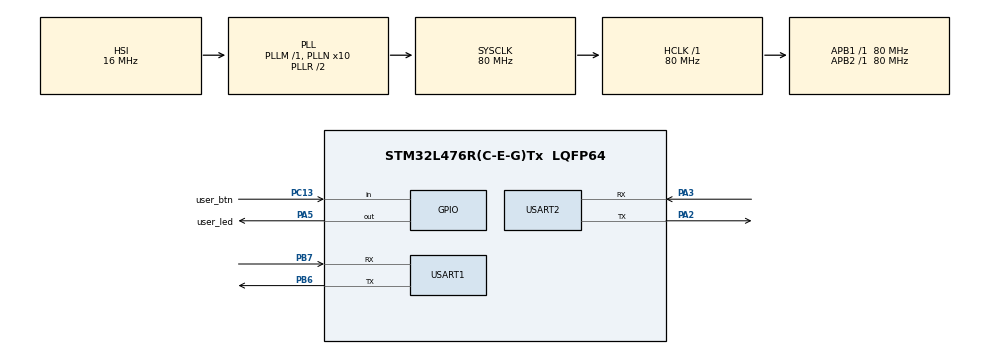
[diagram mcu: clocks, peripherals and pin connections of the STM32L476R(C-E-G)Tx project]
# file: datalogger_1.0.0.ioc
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Mcu.Family=STM32L4
RCC.MSI_VALUE=4000000
RCC.PLLSourceVirtual=RCC_PLLSOURCE_HSI
PA14\ (JTCK-SWCLK).Mode=Serial_Wire
RCC.CortexFreq_Value=80000000
PC13.Signal=GPIO_Input
PC13.GPIO_Label=user_btn
NVIC.USART2_IRQn=true\:0\:0\:false\:false\:true\:true\:true
RCC.SYSCLKSource=RCC_SYSCLKSOURCE_PLLCLK
ProjectManager.StackSize=0x400
PA14\ (JTCK-SWCLK).Signal=SYS_JTCK-SWCLK
USART1.VirtualMode-Asynchronous=VM_ASYNC
PA3.Mode=Asynchronous
ProjectManager.TargetToolchain=STM32CubeIDE
RCC.HCLKFreq_Value=80000000
RCC.APB2TimFreq_Value=80000000
PB6.Signal=USART1_TX
PB6.Mode=Asynchronous
RCC.USBFreq_Value=64000000
RCC.AHBFreq_Value=80000000
RCC.PREFETCH_ENABLE=1
PA5.Signal=GPIO_Output
RCC.HSE_VALUE=8000000
board=NUCLEO-L476RG
USART2.VirtualMode-Asynchronous=VM_ASYNC
RCC.VCOOutputFreq_Value=160000000
RCC.APB2Freq_Value=80000000
RCC.ADCFreq_Value=64000000
PC13.GPIO_PuPd=GPIO_PULLUP
PB7.Signal=USART1_RX
Mcu.Name=STM32L476R(C-E-G)Tx
PA2.Signal=USART2_TX
PA13\ (JTMS-SWDIO).Mode=Serial_Wire
RCC.SYSCLKFreq_VALUE=80000000
Mcu.Package=LQFP64
PA5.GPIO_Label=user_led
PB7.Mode=Asynchronous
ProjectManager.HeapSize=0x200
RCC.HSI_VALUE=16000000
PA5.GPIO_Speed=GPIO_SPEED_FREQ_VERY_HIGH
NVIC.PriorityGroup=NVIC_PRIORITYGROUP_4
RCC.PLLN=10
RCC.APB1TimFreq_Value=80000000
PA2.Mode=Asynchronous
PA13\ (JTMS-SWDIO).Signal=SYS_JTMS-SWDIO
NVIC.USART1_IRQn=true\:0\:0\:false\:false\:true\:true\:true
RCC.APB1Freq_Value=80000000
PA3.Signal=USART2_RX

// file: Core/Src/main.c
/* USER CODE BEGIN Header */
/**
  ******************************************************************************
  * @file           : main.c
  * @brief          : Main program body
  ******************************************************************************
  * @attention
  *
  * <h2><center>&copy; Copyright (c) 2021 STMicroelectronics.
  * All rights reserved.</center></h2>
  *
  * This software component is licensed by ST under BSD 3-Clause license,
  * the "License"; You may not use this file except in compliance with the
  * License. You may obtain a copy of the License at:
  *                        opensource.org/licenses/BSD-3-Clause
  *
  ******************************************************************************
  */
/* USER CODE END Header */
#include "main.h"

/* USER CODE BEGIN Includes */
#include "string.h"
/* USER CODE END Includes */

UART_HandleTypeDef huart1;
UART_HandleTypeDef huart2;

void SystemClock_Config(void);
static void MX_GPIO_Init(void);
static void MX_USART2_UART_Init(void);
static void MX_USART1_UART_Init(void);

int main(void)
{
  /* USER CODE BEGIN 1 */
	SCB->VTOR = (uint32_t)0x0803E800;

  /* USER CODE END 1 */

  /* MCU Configuration--------------------------------------------------------*/

  /* Reset of all peripherals, Initializes the Flash interface and the Systick. */
  HAL_Init();

  /* Configure the system clock */
  SystemClock_Config();

  /* Initialize all configured peripherals */
  MX_GPIO_Init();
  MX_USART2_UART_Init();
  MX_USART1_UART_Init();
  /* USER CODE BEGIN 2 */
  HAL_UART_Transmit(&huart2, (uint8_t*)"\n----------------------------------------------------------------------------------------------------------------"
		  ,strlen("\n----------------------------------------------------------------------------------------------------------------"), 200 ) ;

  HAL_UART_Transmit(&huart2, (uint8_t*)"\n                                      DATALOGGER FIRMWARE - VERSION: 1.0.0"
		  ,strlen("\n                                      DATALOGGER FIRMWARE - VERSION: 1.0.0"), 200 ) ;

  HAL_UART_Transmit(&huart2, (uint8_t*)"\n----------------------------------------------------------------------------------------------------------------"
		  ,strlen("\n----------------------------------------------------------------------------------------------------------------"), 200 ) ;

  HAL_UART_Transmit(&huart2, (uint8_t*)"\nThis is datalogger_1.0.0 firmware version", strlen("\nThis is datalogger_1.0.0 firmware version"), 2000 ) ;

  /* USER CODE END 2 */

  /* Infinite loop */
  /* USER CODE BEGIN WHILE */
  unsigned int lastTime = HAL_GetTick() ;
  while (1)
  {
    /* USER CODE END WHILE */

    /* USER CODE BEGIN 3 */
	  HAL_GPIO_TogglePin(user_led_GPIO_Port, user_led_Pin) ;
	  HAL_Delay(100) ;

	  if( (unsigned int)( HAL_GetTick() - lastTime ) >= 2000 ) {
		  lastTime = HAL_GetTick() ;
		  HAL_UART_Transmit(&huart2, (uint8_t*)"\nThis is datalogger_1.0.0 firmware version", strlen("\nThis is datalogger_1.0.0 firmware version"), 2000 ) ;
	  }
  }
  /* USER CODE END 3 */
}

void SystemClock_Config(void)
{
  RCC_OscInitTypeDef RCC_OscInitStruct = {0};
  RCC_ClkInitTypeDef RCC_ClkInitStruct = {0};
  RCC_PeriphCLKInitTypeDef PeriphClkInit = {0};

  /** Initializes the RCC Oscillators according to the specified parameters
  * in the RCC_OscInitTypeDef structure.
  */
  RCC_OscInitStruct.OscillatorType = RCC_OSCILLATORTYPE_HSI;
  RCC_OscInitStruct.HSIState = RCC_HSI_ON;
  RCC_OscInitStruct.HSICalibrationValue = RCC_HSICALIBRATION_DEFAULT;
  RCC_OscInitStruct.PLL.PLLState = RCC_PLL_ON;
  RCC_OscInitStruct.PLL.PLLSource = RCC_PLLSOURCE_HSI;
  RCC_OscInitStruct.PLL.PLLM = 1;
  RCC_OscInitStruct.PLL.PLLN = 10;
  RCC_OscInitStruct.PLL.PLLP = RCC_PLLP_DIV7;
  RCC_OscInitStruct.PLL.PLLQ = RCC_PLLQ_DIV2;
  RCC_OscInitStruct.PLL.PLLR = RCC_PLLR_DIV2;
  if (HAL_RCC_OscConfig(&RCC_OscInitStruct) != HAL_OK)
  {
    Error_Handler();
  }
  /** Initializes the CPU, AHB and APB buses clocks
  */
  RCC_ClkInitStruct.ClockType = RCC_CLOCKTYPE_HCLK|RCC_CLOCKTYPE_SYSCLK
                              |RCC_CLOCKTYPE_PCLK1|RCC_CLOCKTYPE_PCLK2;
  RCC_ClkInitStruct.SYSCLKSource = RCC_SYSCLKSOURCE_PLLCLK;
  RCC_ClkInitStruct.AHBCLKDivider = RCC_SYSCLK_DIV1;
  RCC_ClkInitStruct.APB1CLKDivider = RCC_HCLK_DIV1;
  RCC_ClkInitStruct.APB2CLKDivider = RCC_HCLK_DIV1;

  if (HAL_RCC_ClockConfig(&RCC_ClkInitStruct, FLASH_LATENCY_4) != HAL_OK)
  {
    Error_Handler();
  }
  PeriphClkInit.PeriphClockSelection = RCC_PERIPHCLK_USART1|RCC_PERIPHCLK_USART2;
  PeriphClkInit.Usart1ClockSelection = RCC_USART1CLKSOURCE_PCLK2;
  PeriphClkInit.Usart2ClockSelection = RCC_USART2CLKSOURCE_PCLK1;
  if (HAL_RCCEx_PeriphCLKConfig(&PeriphClkInit) != HAL_OK)
  {
    Error_Handler();
  }
  /** Configure the main internal regulator output voltage
  */
  if (HAL_PWREx_ControlVoltageScaling(PWR_REGULATOR_VOLTAGE_SCALE1) != HAL_OK)
  {
    Error_Handler();
  }
}

static void MX_USART1_UART_Init(void)
{

  huart1.Instance = USART1;
  huart1.Init.BaudRate = 115200;
  huart1.Init.WordLength = UART_WORDLENGTH_8B;
  huart1.Init.StopBits = UART_STOPBITS_1;
  huart1.Init.Parity = UART_PARITY_NONE;
  huart1.Init.Mode = UART_MODE_TX_RX;
  huart1.Init.HwFlowCtl = UART_HWCONTROL_NONE;
  huart1.Init.OverSampling = UART_OVERSAMPLING_16;
  huart1.Init.OneBitSampling = UART_ONE_BIT_SAMPLE_DISABLE;
  huart1.AdvancedInit.AdvFeatureInit = UART_ADVFEATURE_NO_INIT;
  if (HAL_UART_Init(&huart1) != HAL_OK)
  {
    Error_Handler();
  }

}

static void MX_USART2_UART_Init(void)
{

  huart2.Instance = USART2;
  huart2.Init.BaudRate = 115200;
  huart2.Init.WordLength = UART_WORDLENGTH_8B;
  huart2.Init.StopBits = UART_STOPBITS_1;
  huart2.Init.Parity = UART_PARITY_NONE;
  huart2.Init.Mode = UART_MODE_TX_RX;
  huart2.Init.HwFlowCtl = UART_HWCONTROL_NONE;
  huart2.Init.OverSampling = UART_OVERSAMPLING_16;
  huart2.Init.OneBitSampling = UART_ONE_BIT_SAMPLE_DISABLE;
  huart2.AdvancedInit.AdvFeatureInit = UART_ADVFEATURE_NO_INIT;
  if (HAL_UART_Init(&huart2) != HAL_OK)
  {
    Error_Handler();
  }

}

static void MX_GPIO_Init(void)
{
  GPIO_InitTypeDef GPIO_InitStruct = {0};

  /* GPIO Ports Clock Enable */
  __HAL_RCC_GPIOC_CLK_ENABLE();
  __HAL_RCC_GPIOA_CLK_ENABLE();
  __HAL_RCC_GPIOB_CLK_ENABLE();

  /*Configure GPIO pin Output Level */
  HAL_GPIO_WritePin(user_led_GPIO_Port, user_led_Pin, GPIO_PIN_RESET);

  /*Configure GPIO pin : user_btn_Pin */
  GPIO_InitStruct.Pin = user_btn_Pin;
  GPIO_InitStruct.Mode = GPIO_MODE_INPUT;
  GPIO_InitStruct.Pull = GPIO_PULLUP;
  HAL_GPIO_Init(user_btn_GPIO_Port, &GPIO_InitStruct);

  /*Configure GPIO pin : user_led_Pin */
  GPIO_InitStruct.Pin = user_led_Pin;
  GPIO_InitStruct.Mode = GPIO_MODE_OUTPUT_PP;
  GPIO_InitStruct.Pull = GPIO_NOPULL;
  GPIO_InitStruct.Speed = GPIO_SPEED_FREQ_VERY_HIGH;
  HAL_GPIO_Init(user_led_GPIO_Port, &GPIO_InitStruct);

}

void Error_Handler(void)
{
  __disable_irq();
  while (1)
  {
  }
}

/************************ (C) COPYRIGHT STMicroelectronics *****END OF FILE****/
